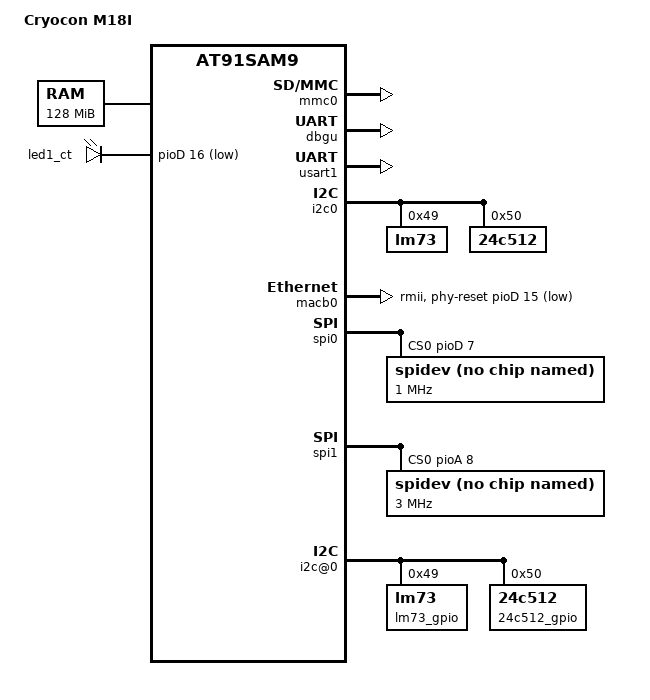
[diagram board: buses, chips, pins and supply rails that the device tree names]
/*
 * m18i.dtsi - Device Tree file for Cryocon M18I
 *
 *  Copyright (C) 2014 Cryogenic Control Systems, Inc.
 *                2012 Atmel,
 *                2012 Nicolas Ferre <nicolas.ferre@atmel.com>
 *
 * Licensed under GPLv2 or later.
 */
 
/dts-v1/;
#include "at91sam9g35.dtsi"

/ {
    model = "Cryocon M18I";
    compatible = "atmel,at91sam9x5ek", "atmel,at91sam9x5", "atmel,at91sam9";
    

	memory {
		reg = <0x20000000 0x8000000>;
	};

	clocks {
		slow_xtal {
			clock-frequency = <32768>;
		};

		main_xtal {
			clock-frequency = <12000000>;
		};
	};

    aliases {
	serial1 = &usart1;
        spi0 = &spi0;
        spi1 = &spi1;
    };

	ahb {
		apb {
			rtc@fffffeb0 {
				status = "okay";
			};

			mmc0: mmc@f0008000 {
				pinctrl-0 = <
					&pinctrl_mmc0_slot0_clk_cmd_dat0
					&pinctrl_mmc0_slot0_dat1_3>;
				status = "okay";
				slot@0 {
					reg = <0>;
					bus-width = <4>;
					cd-gpios = <0>;
					non-removable;
				};
			};
			
			mmc1: mmc@f000c000 {
				status = "disabled";
			};

			dbgu: serial@fffff200 {
				status = "okay";
			};

			usart1: serial@f8020000 {
				status = "okay";
			};

			i2c0: i2c@f8010000 {
				status = "okay";
				lm73@49 {
					compatible = "lm73";
					reg = <0x49>;
				};
				24c512@50 {
					compatible = "24c512";
					reg = <0x50>;
					pagesize = <128>;
				};
			};

			ssc0: ssc@f0010000 {
				status = "disabled";
			};

            macb0: ethernet@f802c000 {
                phy-mode = "rmii";
                status = "okay";
				phy-reset-gpios = <&pioD 15 0>; /* PD15 GPIO phy reset */

                pinctrl-0 = <&pinctrl_macb0_rmii>;
            };

			spi0: spi@f0000000 {
				status = "okay";
				cs-gpios = <&pioD 7 0>, <0>, <0>, <0>;
				rt;
                spidev@0 {
                    compatible = "spidev";
                    spi-cpha;
                    spi-max-frequency = <1000000>;
                    reg = <0>;
                };
			};

			spi1: spi@f0004000 {
			    status = "okay";
                cs-gpios = <&pioA 8 0>, <0>, <0>, <0>;
                spidev@0 {
                    compatible = "spidev";
                    spi-max-frequency = <3000000>;
                    reg = <0>;
                };
            };

			watchdog@fffffe40 {
				status = "okay";
			};
		};

		usb0: ohci@00600000 {
			status = "disabled";
		};

		usb1: ehci@00700000 {
			status = "disabled";
		};
	};

	i2c@0 {
		status = "okay";
		lm73_gpio@49 {
			compatible = "lm73";
			reg = <0x49>;
			status = "okay";
		};
		24c512_gpio@50 {
			compatible = "24c512";
			reg = <0x50>;
			pagesize = <128>;
		};
	};

	leds {
		compatible = "gpio-leds";

		heartbeat {
			label = "led1_ct";
			gpios = <&pioD 16 1>;
			linux,default-trigger = "heartbeat";
		};
	};
};
